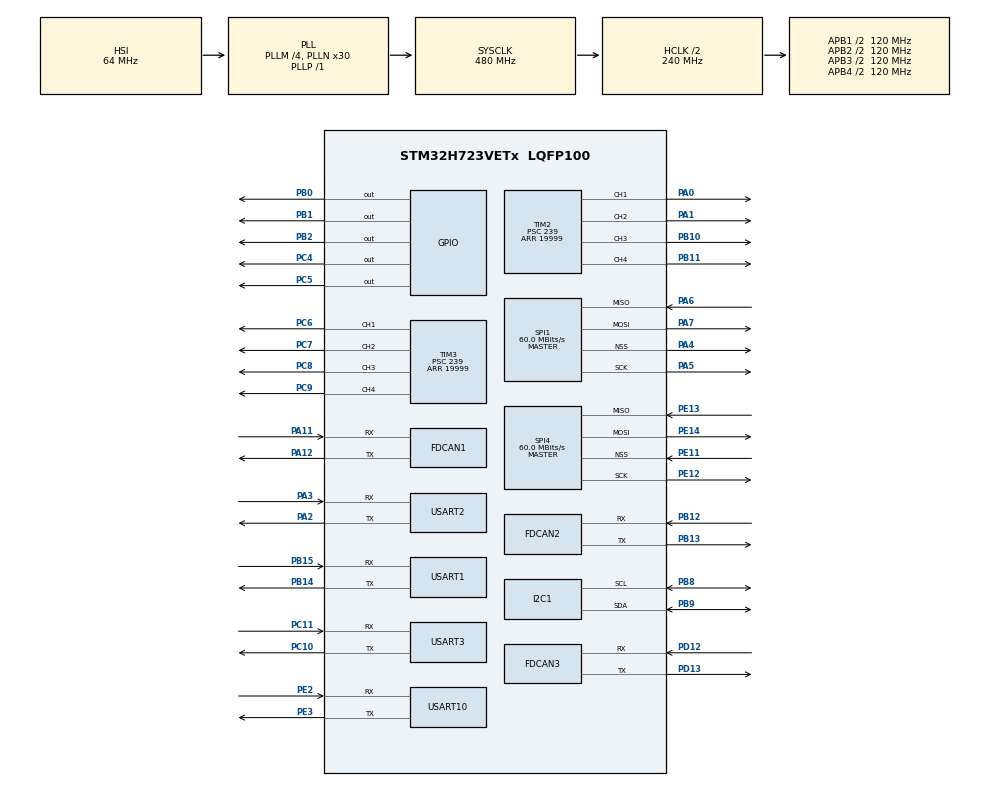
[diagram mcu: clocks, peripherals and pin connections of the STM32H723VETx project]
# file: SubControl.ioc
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CORTEX_M7.default_mode_Activation=1
FDCAN1.CalculateBaudRateNominal=1000000
FDCAN1.CalculateTimeBitNominal=1000
FDCAN1.CalculateTimeQuantumNominal=25.0
FDCAN1.DataPrescaler=3
FDCAN1.DataSyncJumpWidth=10
FDCAN1.DataTimeSeg1=29
FDCAN1.DataTimeSeg2=10
FDCAN1.ExtFiltersNbr=1
FDCAN1.NominalPrescaler=3
FDCAN1.NominalSyncJumpWidth=10
FDCAN1.NominalTimeSeg1=29
FDCAN1.NominalTimeSeg2=10
FDCAN1.RxFifo0ElmtsNbr=64
FDCAN1.RxFifo1ElmtsNbr=16
FDCAN1.StdFiltersNbr=1
FDCAN1.TxFifoQueueElmtsNbr=32
FDCAN2.CalculateBaudRateNominal=1000000
FDCAN2.CalculateTimeBitNominal=1000
FDCAN2.CalculateTimeQuantumNominal=25.0
FDCAN2.DataPrescaler=3
FDCAN2.DataSyncJumpWidth=10
FDCAN2.DataTimeSeg1=29
FDCAN2.DataTimeSeg2=10
FDCAN2.ExtFiltersNbr=1
FDCAN2.NominalPrescaler=3
FDCAN2.NominalSyncJumpWidth=10
FDCAN2.NominalTimeSeg1=29
FDCAN2.NominalTimeSeg2=10
FDCAN2.RxFifo0ElmtsNbr=64
FDCAN2.RxFifo1ElmtsNbr=16
FDCAN2.StdFiltersNbr=1
FDCAN2.TxFifoQueueElmtsNbr=32
FDCAN3.CalculateBaudRateNominal=1000000
FDCAN3.CalculateTimeBitNominal=1000
FDCAN3.CalculateTimeQuantumNominal=25.0
FDCAN3.DataPrescaler=3
FDCAN3.DataSyncJumpWidth=10
FDCAN3.DataTimeSeg1=29
FDCAN3.DataTimeSeg2=10
FDCAN3.ExtFiltersNbr=1
FDCAN3.NominalPrescaler=3
FDCAN3.NominalSyncJumpWidth=10
FDCAN3.NominalTimeSeg1=29
FDCAN3.NominalTimeSeg2=10
FDCAN3.RxFifo0ElmtsNbr=64
FDCAN3.RxFifo1ElmtsNbr=16
FDCAN3.StdFiltersNbr=1
FDCAN3.TxFifoQueueElmtsNbr=32
I2C1.Timing=0x307075B1
Mcu.Family=STM32H7
Mcu.Name=STM32H723VETx
Mcu.Package=LQFP100
NVIC.FDCAN1_IT0_IRQn=true\:0\:0\:false\:false\:true\:true\:true\:true
NVIC.FDCAN1_IT1_IRQn=true\:0\:0\:false\:false\:true\:true\:true\:true
NVIC.FDCAN2_IT0_IRQn=true\:0\:0\:false\:false\:true\:true\:true\:true
NVIC.FDCAN2_IT1_IRQn=true\:0\:0\:false\:false\:true\:true\:true\:true
NVIC.FDCAN3_IT0_IRQn=true\:0\:0\:false\:false\:true\:true\:true\:true
NVIC.FDCAN3_IT1_IRQn=true\:0\:0\:false\:false\:true\:true\:true\:true
NVIC.PriorityGroup=NVIC_PRIORITYGROUP_4
NVIC.TIM1_UP_IRQn=true\:15\:0\:false\:false\:true\:false\:true\:true
NVIC.TIM6_DAC_IRQn=true\:0\:0\:false\:false\:true\:true\:true\:true
NVIC.TIM7_IRQn=true\:0\:0\:false\:false\:true\:true\:true\:true
NVIC.TimeBase=TIM1_UP_IRQn
NVIC.TimeBaseIP=TIM1
NVIC.USART10_IRQn=true\:0\:0\:false\:false\:true\:true\:true\:true
NVIC.USART1_IRQn=true\:0\:0\:false\:false\:true\:true\:true\:true
NVIC.USART2_IRQn=true\:0\:0\:false\:false\:true\:true\:true\:true
NVIC.USART3_IRQn=true\:0\:0\:false\:false\:true\:true\:true\:true
PA0.Signal=S_TIM2_CH1_ETR
PA1.Signal=S_TIM2_CH2
PA11.Mode=FDCAN_Activate
PA11.Signal=FDCAN1_RX
PA12.Mode=FDCAN_Activate
PA12.Signal=FDCAN1_TX
PA13(JTMS/SWDIO).Mode=Serial_Wire
PA13(JTMS/SWDIO).Signal=DEBUG_JTMS-SWDIO
PA14(JTCK/SWCLK).Mode=Serial_Wire
PA14(JTCK/SWCLK).Signal=DEBUG_JTCK-SWCLK
PA2.Mode=Asynchronous
PA2.Signal=USART2_TX
PA3.Mode=Asynchronous
PA3.Signal=USART2_RX
PA4.Mode=NSS_Signal_Hard_Output
PA4.Signal=SPI1_NSS
PA5.Mode=Full_Duplex_Master
PA5.Signal=SPI1_SCK
PA6.Mode=Full_Duplex_Master
PA6.Signal=SPI1_MISO
PA7.Mode=Full_Duplex_Master
PA7.Signal=SPI1_MOSI
PB0.Signal=GPIO_Output
PB1.Signal=GPIO_Output
PB10.Signal=S_TIM2_CH3
PB11.Signal=S_TIM2_CH4
PB12.Mode=FDCAN_Activate
PB12.Signal=FDCAN2_RX
PB13.Mode=FDCAN_Activate
PB13.Signal=FDCAN2_TX
PB14.Mode=Asynchronous
PB14.Signal=USART1_TX
PB15.Mode=Asynchronous
PB15.Signal=USART1_RX
PB2.Signal=GPIO_Output
PB8.Mode=I2C
PB8.Signal=I2C1_SCL
PB9.Mode=I2C
PB9.Signal=I2C1_SDA
PC10.Mode=Asynchronous
PC10.Signal=USART3_TX
PC11.Mode=Asynchronous
PC11.Signal=USART3_RX
PC4.PinState=GPIO_PIN_SET
PC4.Signal=GPIO_Output
PC5.Signal=GPIO_Output
PC6.Signal=S_TIM3_CH1
PC7.Signal=S_TIM3_CH2
PC8.Signal=S_TIM3_CH3
PC9.Signal=S_TIM3_CH4
PD12.Mode=FDCAN_Activate
PD12.Signal=FDCAN3_RX
PD13.Mode=FDCAN_Activate
PD13.Signal=FDCAN3_TX
PE11.Mode=NSS_Signal_Hard_Input
PE11.Signal=SPI4_NSS
PE12.Mode=Full_Duplex_Master
PE12.Signal=SPI4_SCK
PE13.Mode=Full_Duplex_Master
PE13.Signal=SPI4_MISO
PE14.Mode=Full_Duplex_Master
PE14.Signal=SPI4_MOSI
PE2.Mode=Asynchronous
PE2.Signal=USART10_RX
PE3.Mode=Asynchronous
PE3.Signal=USART10_TX
PH0-OSC_IN.Mode=HSE-External-Oscillator
PH0-OSC_IN.Signal=RCC_OSC_IN
PH1-OSC_OUT.Mode=HSE-External-Oscillator
PH1-OSC_OUT.Signal=RCC_OSC_OUT
ProjectManager.HeapSize=0x200
ProjectManager.StackSize=0x400
ProjectManager.TargetToolchain=MDK-ARM V5.32
RCC.ADCFreq_Value=120000000
RCC.APB1Freq_Value=120000000
RCC.APB2Freq_Value=120000000
RCC.APB3Freq_Value=120000000
RCC.APB4Freq_Value=120000000
RCC.CortexFreq_Value=480000000
RCC.D1PPRE=RCC_APB3_DIV2
RCC.D2PPRE1=RCC_APB1_DIV2
RCC.D2PPRE2=RCC_APB2_DIV2
RCC.D3PPRE=RCC_APB4_DIV2
RCC.DIVM1=4
RCC.DIVM2=4
RCC.DIVN1=30
RCC.DIVN2=15
RCC.DIVP1=1
RCC.DIVQ1=4
RCC.HCLKFreq_Value=240000000
RCC.HPRE=RCC_HCLK_DIV2
RCC.HSE_VALUE=25000000
RCC.PLL2FRACN=0
RCC.PLL3FRACN=0
RCC.PLLFRACN=0
RCC.SYSCLKFreq_VALUE=480000000
RCC.SYSCLKSource=RCC_SYSCLKSOURCE_PLLCLK
RCC.USBFreq_Value=120000000
SH.S_TIM2_CH1_ETR.0=TIM2_CH1,PWM Generation1 CH1
SH.S_TIM2_CH2.0=TIM2_CH2,PWM Generation2 CH2
SH.S_TIM2_CH3.0=TIM2_CH3,PWM Generation3 CH3
SH.S_TIM2_CH4.0=TIM2_CH4,PWM Generation4 CH4
SH.S_TIM3_CH1.0=TIM3_CH1,PWM Generation1 CH1
SH.S_TIM3_CH2.0=TIM3_CH2,PWM Generation2 CH2
SH.S_TIM3_CH3.0=TIM3_CH3,PWM Generation3 CH3
SH.S_TIM3_CH4.0=TIM3_CH4,PWM Generation4 CH4
SPI1.CRCCalculation=SPI_CRCCALCULATION_DISABLE
SPI1.CalculateBaudRate=60.0 MBits/s
SPI1.Direction=SPI_DIRECTION_2LINES
SPI1.Mode=SPI_MODE_MASTER
SPI1.NSSPMode=SPI_NSS_PULSE_ENABLE
SPI1.VirtualNSS=VM_NSSHARD
SPI1.VirtualType=VM_MASTER
SPI4.CalculateBaudRate=60.0 MBits/s
SPI4.Direction=SPI_DIRECTION_2LINES
SPI4.Mode=SPI_MODE_MASTER
SPI4.VirtualNSS=VM_NSSHARD
SPI4.VirtualType=VM_MASTER
TIM2.AutoReloadPreload=TIM_AUTORELOAD_PRELOAD_ENABLE
TIM2.Channel-PWM\ Generation1\ CH1=TIM_CHANNEL_1
TIM2.Channel-PWM\ Generation2\ CH2=TIM_CHANNEL_2
TIM2.Channel-PWM\ Generation3\ CH3=TIM_CHANNEL_3
TIM2.Channel-PWM\ Generation4\ CH4=TIM_CHANNEL_4
TIM2.OCPolarity_3=TIM_OCPOLARITY_LOW
TIM2.OCPolarity_4=TIM_OCPOLARITY_LOW
TIM2.Period=19999
TIM2.Prescaler=239
TIM3.AutoReloadPreload=TIM_AUTORELOAD_PRELOAD_ENABLE
TIM3.Channel-PWM\ Generation1\ CH1=TIM_CHANNEL_1
TIM3.Channel-PWM\ Generation2\ CH2=TIM_CHANNEL_2
TIM3.Channel-PWM\ Generation3\ CH3=TIM_CHANNEL_3
TIM3.Channel-PWM\ Generation4\ CH4=TIM_CHANNEL_4
TIM3.OCPolarity_1=TIM_OCPOLARITY_LOW
TIM3.OCPolarity_2=TIM_OCPOLARITY_LOW
TIM3.OCPolarity_3=TIM_OCPOLARITY_LOW
TIM3.OCPolarity_4=TIM_OCPOLARITY_LOW
TIM3.Period=19999
TIM3.Prescaler=239
TIM6.AutoReloadPreload=TIM_AUTORELOAD_PRELOAD_ENABLE
TIM6.Period=999
TIM6.Prescaler=239
TIM7.AutoReloadPreload=TIM_AUTORELOAD_PRELOAD_ENABLE
TIM7.Period=9999
TIM7.Prescaler=239
USART1.VirtualMode-Asynchronous=VM_ASYNC
USART10.VirtualMode=VM_ASYNC
USART2.VirtualMode-Asynchronous=VM_ASYNC
USART3.VirtualMode-Asynchronous=VM_ASYNC
VP_SYS_VS_tim1.Mode=TIM1
VP_TIM6_VS_ClockSourceINT.Mode=Enable_Timer
VP_TIM7_VS_ClockSourceINT.Mode=Enable_Timer
board=custom

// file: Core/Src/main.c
/* USER CODE BEGIN Header */
/**
  ******************************************************************************
  * @file           : main.c
  * @brief          : Main program body
  ******************************************************************************
  * @attention
  *
  * Copyright (c) 2026 STMicroelectronics.
  * All rights reserved.
  *
  * This software is licensed under terms that can be found in the LICENSE file
  * in the root directory of this software component.
  * If no LICENSE file comes with this software, it is provided AS-IS.
  *
  ******************************************************************************
  */
/* USER CODE END Header */
#include "main.h"
#include "fdcan.h"
#include "i2c.h"
#include "spi.h"
#include "tim.h"
#include "usart.h"
#include "gpio.h"

/* USER CODE BEGIN Includes */
#include "bsp_fdcan.h"
#include "bsp_dji.h"
#include "bsp_dm_ctrl.h"
#include "bsp_dm_drv.h"
#include "bsp_vesc.h"
#include "bsp_matlab_ctrl.h"
#include "bsp_robstride.h"
#include "PID_MODEL_SYSTEM.h"
#include "bsp_subcontrol.h"
/* USER CODE END Includes */

/* USER CODE BEGIN PD */
#define VEL 1
#define ANG 2
/* USER CODE END PD */

/* USER CODE BEGIN PV */
extern motor_dji_t motor_dji[3][8];
extern motor_dm_t motor_dm[3][8];
extern motor_vesc_t motor_vesc[3][8];
extern motor_robstride_t motor_robstride[3][16];
extern data_subcontrol_t subcontroller;
uint8_t uart_index[2]={0};
uint8_t buffer[10]={0};
uint8_t USART1_RX_BUF[10]={0};
uint8_t USART2_RX_BUF[10]={0};

uint8_t cnt[10]={0};

/* USER CODE END PV */

void SystemClock_Config(void);
static void MPU_Config(void);
/* USER CODE BEGIN PFP */
void Set_servo(TIM_HandleTypeDef * htim,uint32_t Channel,uint8_t angle){
	if(angle<=180)
		__HAL_TIM_SET_COMPARE(htim, Channel,0.5*1000+angle*100/9);
}
/* USER CODE END PFP */

int main(void)
{

  /* MPU Configuration--------------------------------------------------------*/
  MPU_Config();

  /* MCU Configuration--------------------------------------------------------*/

  /* Reset of all peripherals, Initializes the Flash interface and the Systick. */
  HAL_Init();

  /* Configure the system clock */
  SystemClock_Config();

  /* Initialize all configured peripherals */
  MX_GPIO_Init();
  MX_FDCAN1_Init();
  MX_FDCAN2_Init();
  MX_FDCAN3_Init();
  MX_TIM2_Init();
  MX_TIM3_Init();
  MX_TIM6_Init();
  MX_TIM7_Init();
  MX_USART1_UART_Init();
  MX_USART2_UART_Init();
  MX_SPI1_Init();
  MX_I2C1_Init();
  MX_SPI4_Init();
  MX_USART3_UART_Init();
  MX_USART10_UART_Init();
  /* USER CODE BEGIN 2 */
  fdcan_all_init_start();
	subcontrol_init();
  dm_motor_init(&motor_dm[0][0],CAN_ID_DM_M0,mit_mode,0.0f,2.0f,12.5f,30.0f,10.0f);
  for(int i=0;i<1;i++){
		dm_motor_enable(&hfdcan1, &motor_dm[0][0]);
		robstride_init(1,1,rs03,move_control_mode);
		HAL_Delay(10);
	}

	PID_MODEL_SYSTEM_initialize();
  matlab_motor_para_init(&hfdcan1,CAN_ID_DJI_M0,VEL,10,3,0.01,20,0,0,0,10,0,0,0,20);
	HAL_UART_Receive_IT(&huart1, buffer, 1);
	HAL_UART_Receive_IT(&huart1, buffer+1, 1);
	HAL_TIM_PWM_Start(&htim2,TIM_CHANNEL_ALL);
	HAL_TIM_PWM_Start(&htim3,TIM_CHANNEL_ALL);
  Set_servo(&htim2,TIM_CHANNEL_1,0);
  Set_servo(&htim2,TIM_CHANNEL_2,45);
  Set_servo(&htim3,TIM_CHANNEL_1,90);
  Set_servo(&htim3,TIM_CHANNEL_2,180);
	HAL_TIM_Base_Start_IT(&htim6);
  HAL_TIM_Base_Start_IT(&htim7);

  /* USER CODE END 2 */

  /* Infinite loop */
  while (1)
  {

  }
}

void SystemClock_Config(void)
{
  RCC_OscInitTypeDef RCC_OscInitStruct = {0};
  RCC_ClkInitTypeDef RCC_ClkInitStruct = {0};

  /** Supply configuration update enable
  */
  HAL_PWREx_ConfigSupply(PWR_LDO_SUPPLY);

  /** Configure the main internal regulator output voltage
  */
  __HAL_PWR_VOLTAGESCALING_CONFIG(PWR_REGULATOR_VOLTAGE_SCALE0);

  while(!__HAL_PWR_GET_FLAG(PWR_FLAG_VOSRDY)) {}

  /** Initializes the RCC Oscillators according to the specified parameters
  * in the RCC_OscInitTypeDef structure.
  */
  RCC_OscInitStruct.OscillatorType = RCC_OSCILLATORTYPE_HSI;
  RCC_OscInitStruct.HSIState = RCC_HSI_DIV1;
  RCC_OscInitStruct.HSICalibrationValue = 64;
  RCC_OscInitStruct.PLL.PLLState = RCC_PLL_ON;
  RCC_OscInitStruct.PLL.PLLSource = RCC_PLLSOURCE_HSI;
  RCC_OscInitStruct.PLL.PLLM = 4;
  RCC_OscInitStruct.PLL.PLLN = 30;
  RCC_OscInitStruct.PLL.PLLP = 1;
  RCC_OscInitStruct.PLL.PLLQ = 4;
  RCC_OscInitStruct.PLL.PLLR = 2;
  RCC_OscInitStruct.PLL.PLLRGE = RCC_PLL1VCIRANGE_3;
  RCC_OscInitStruct.PLL.PLLVCOSEL = RCC_PLL1VCOWIDE;
  RCC_OscInitStruct.PLL.PLLFRACN = 0;
  if (HAL_RCC_OscConfig(&RCC_OscInitStruct) != HAL_OK)
  {
    Error_Handler();
  }

  /** Initializes the CPU, AHB and APB buses clocks
  */
  RCC_ClkInitStruct.ClockType = RCC_CLOCKTYPE_HCLK|RCC_CLOCKTYPE_SYSCLK
                              |RCC_CLOCKTYPE_PCLK1|RCC_CLOCKTYPE_PCLK2
                              |RCC_CLOCKTYPE_D3PCLK1|RCC_CLOCKTYPE_D1PCLK1;
  RCC_ClkInitStruct.SYSCLKSource = RCC_SYSCLKSOURCE_PLLCLK;
  RCC_ClkInitStruct.SYSCLKDivider = RCC_SYSCLK_DIV1;
  RCC_ClkInitStruct.AHBCLKDivider = RCC_HCLK_DIV2;
  RCC_ClkInitStruct.APB3CLKDivider = RCC_APB3_DIV2;
  RCC_ClkInitStruct.APB1CLKDivider = RCC_APB1_DIV2;
  RCC_ClkInitStruct.APB2CLKDivider = RCC_APB2_DIV2;
  RCC_ClkInitStruct.APB4CLKDivider = RCC_APB4_DIV2;

  if (HAL_RCC_ClockConfig(&RCC_ClkInitStruct, FLASH_LATENCY_3) != HAL_OK)
  {
    Error_Handler();
  }
}

/* USER CODE BEGIN 4 */
void HAL_UART_RxCpltCallback(UART_HandleTypeDef *huart)
{
	if (huart->Instance == USART1)
    {
//		if(uart_index[0] == 0 && buffer[0]!=包头){
//			HAL_UART_Receive_IT(&huart1, buffer, 1);
//		}
//		else{
//			USART1_RX_BUF[uart_index[0]++] = buffer[0];
//			if (uart_index[0] == 包长)
//			{
//				uart_index[0] = 0;
//				if (USART1_RX_BUF[0] == 包头 && USART1_RX_BUF[] == 包尾)
//				{

//				}
//			}
//			HAL_UART_Receive_IT(&huart1, buffer, 1);
//		}
    }
	if (huart->Instance == USART2)
    {
//		if(uart_index[1] == 0 && buffer[1]!=包头){
//			HAL_UART_Receive_IT(&huart2, buffer+1, 1);
//		}
//		else{
//			USART1_RX_BUF[uart_index[1]++] = buffer[1];
//			if (uart_index[0] == 包长)
//			{
//				uart_index[1] = 0;
//				if (USART2_RX_BUF[0] == 包头 && USART2_RX_BUF[] == 包尾)
//				{

//				}
//			}
//			HAL_UART_Receive_IT(&huart2, buffer+1, 1);
//		}
    }
}

/* USER CODE END 4 */

 /* MPU Configuration */

void MPU_Config(void)
{
  MPU_Region_InitTypeDef MPU_InitStruct = {0};

  /* Disables the MPU */
  HAL_MPU_Disable();

  /** Initializes and configures the Region and the memory to be protected
  */
  MPU_InitStruct.Enable = MPU_REGION_ENABLE;
  MPU_InitStruct.Number = MPU_REGION_NUMBER0;
  MPU_InitStruct.BaseAddress = 0x0;
  MPU_InitStruct.Size = MPU_REGION_SIZE_4GB;
  MPU_InitStruct.SubRegionDisable = 0x87;
  MPU_InitStruct.TypeExtField = MPU_TEX_LEVEL0;
  MPU_InitStruct.AccessPermission = MPU_REGION_NO_ACCESS;
  MPU_InitStruct.DisableExec = MPU_INSTRUCTION_ACCESS_DISABLE;
  MPU_InitStruct.IsShareable = MPU_ACCESS_SHAREABLE;
  MPU_InitStruct.IsCacheable = MPU_ACCESS_NOT_CACHEABLE;
  MPU_InitStruct.IsBufferable = MPU_ACCESS_NOT_BUFFERABLE;

  HAL_MPU_ConfigRegion(&MPU_InitStruct);
  /* Enables the MPU */
  HAL_MPU_Enable(MPU_PRIVILEGED_DEFAULT);

}

void HAL_TIM_PeriodElapsedCallback(TIM_HandleTypeDef *htim)
{
  if (htim->Instance == TIM1) {
    HAL_IncTick();
  }
  /* USER CODE BEGIN Callback 1 */
	if (htim->Instance == TIM6){
//    motor_dji[0][0].target = 1000;
		if(subcontroller.heartBeatCnt==59999) subcontroller.heartBeatCnt=0;
		else subcontroller.heartBeatCnt++;

    matlab_motor_inport_update();
    PID_MODEL_SYSTEM_step();
    matlab_motor_outport_update();
    fdcan_send_dji(&hfdcan1, motor_dji[0][0].current_set, 0, 0, 0, FRONT);
    dm_motor_ctrl_send(&hfdcan1, &motor_dm[0][0]);
		fdcan_send_vesc(&hfdcan1, &motor_vesc[0][0]);

	}
	if (htim->Instance == TIM7){
		cnt[0]++;
		if(cnt[0]==100){
			HAL_GPIO_TogglePin(GPIOC,GPIO_PIN_4);
			HAL_GPIO_TogglePin(GPIOC,GPIO_PIN_5);
			cnt[0]=0;
		}
		robstride_command_update_all();
    subcontrol_transmit();
    if(subcontroller.received_data[0]==0x2B){
      Set_servo(&htim2,TIM_CHANNEL_1,180);
    }
	}
  /* USER CODE END Callback 1 */
}

void Error_Handler(void)
{
  __disable_irq();
  while (1)
  {
  }
}
